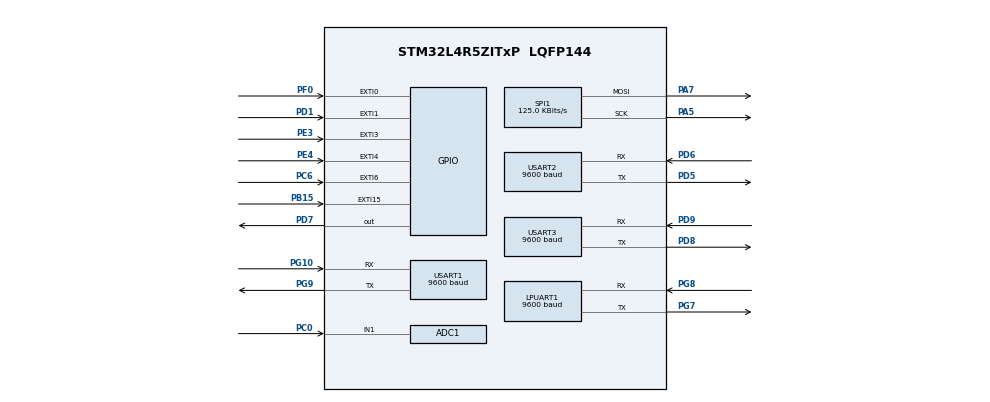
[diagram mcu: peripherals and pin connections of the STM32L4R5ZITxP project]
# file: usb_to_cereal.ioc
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ADC1.Channel-0\#ChannelRegularConversion=ADC_CHANNEL_1
ADC1.ClockPrescaler=ADC_CLOCK_ASYNC_DIV8
ADC1.ContinuousConvMode=ENABLE
ADC1.DMAContinuousRequests=ENABLE
ADC1.NbrOfConversionFlag=1
ADC1.OffsetNumber-0\#ChannelRegularConversion=ADC_OFFSET_NONE
ADC1.Rank-0\#ChannelRegularConversion=1
ADC1.SamplingTime-0\#ChannelRegularConversion=ADC_SAMPLETIME_92CYCLES_5
ADC1.master=1
Dma.ADC1.0.Direction=DMA_PERIPH_TO_MEMORY
Dma.ADC1.0.EventEnable=DISABLE
Dma.ADC1.0.Instance=DMA1_Channel1
Dma.ADC1.0.MemDataAlignment=DMA_MDATAALIGN_HALFWORD
Dma.ADC1.0.MemInc=DMA_MINC_ENABLE
Dma.ADC1.0.Mode=DMA_CIRCULAR
Dma.ADC1.0.PeriphDataAlignment=DMA_PDATAALIGN_HALFWORD
Dma.ADC1.0.PeriphInc=DMA_PINC_DISABLE
Dma.ADC1.0.Polarity=HAL_DMAMUX_REQUEST_GEN_RISING
Dma.ADC1.0.Priority=DMA_PRIORITY_LOW
Dma.ADC1.0.RequestNumber=1
Dma.ADC1.0.SignalID=NONE
Dma.ADC1.0.SyncEnable=DISABLE
Dma.ADC1.0.SyncPolarity=HAL_DMAMUX_SYNC_NO_EVENT
Dma.ADC1.0.SyncRequestNumber=1
Dma.ADC1.0.SyncSignalID=NONE
Dma.Request0=ADC1
LPUART1.BaudRate=9600
LPUART1.WordLength=UART_WORDLENGTH_8B
Mcu.Family=STM32L4
Mcu.Name=STM32L4R5ZITxP
Mcu.Package=LQFP144
NVIC.DMA1_Channel1_IRQn=true\:0\:0\:false\:false\:true\:false\:true\:true
NVIC.EXTI0_IRQn=true\:0\:0\:false\:false\:true\:true\:true\:true
NVIC.EXTI15_10_IRQn=true\:0\:0\:false\:false\:true\:true\:true\:true
NVIC.EXTI1_IRQn=true\:0\:0\:false\:false\:true\:true\:true\:true
NVIC.EXTI3_IRQn=true\:0\:0\:false\:false\:true\:true\:true\:true
NVIC.EXTI4_IRQn=true\:0\:0\:false\:false\:true\:true\:true\:true
NVIC.EXTI9_5_IRQn=true\:0\:0\:false\:false\:true\:true\:true\:true
NVIC.PriorityGroup=NVIC_PRIORITYGROUP_4
NVIC.TIM6_DAC_IRQn=true\:1\:0\:true\:false\:true\:true\:true\:false
NVIC.TIM7_IRQn=true\:1\:0\:true\:false\:true\:true\:true\:false
NVIC.USART3_IRQn=true\:0\:0\:false\:false\:true\:true\:true\:true
PA0.Signal=S_TIM2_CH1
PA10.Signal=USB_OTG_FS_ID
PA13\ (JTMS/SWDIO).Signal=SYS_JTMS-SWDIO
PA14\ (JTCK/SWCLK).Signal=SYS_JTCK-SWCLK
PA3.Signal=ADCx_IN8
PA5.Mode=TX_Only_Simplex_Unidirect_Master
PA5.Signal=SPI1_SCK
PA6.Signal=SPI1_MISO
PA7.Mode=TX_Only_Simplex_Unidirect_Master
PA7.Signal=SPI1_MOSI
PA8.Signal=USB_OTG_FS_SOF
PA9.Signal=USB_OTG_FS_VBUS
PB0.Signal=S_TIM3_CH3
PB1.Signal=ADCx_IN16
PB12.Signal=SAI2_FS_A
PB13.Signal=SAI2_SCK_A
PB14.Signal=S_TIM15_CH1
PB15.GPIO_ModeDefaultEXTI=GPIO_MODE_IT_FALLING
PB15.Signal=GPXTI15
PB2.Signal=COMP1_INP
PB3\ (JTDO/TRACESWO).Signal=SPI3_SCK
PB4\ (NJTRST).Signal=SPI3_MISO
PB5.Signal=SPI3_MOSI
PB6.Signal=COMP2_INP
PB8.Signal=I2C1_SCL
PB9.Signal=I2C1_SDA
PC0.Signal=ADCx_IN1
PC1.Signal=ADCx_IN2
PC13.Signal=SYS_WKUP2
PC14-OSC32_IN\ (PC14).Signal=RCC_OSC32_IN
PC15-OSC32_OUT\ (PC15).Signal=RCC_OSC32_OUT
PC2.Signal=ADCx_IN3
PC3.Signal=ADCx_IN4
PC4.Signal=ADCx_IN13
PC5.Signal=ADCx_IN14
PC6.GPIO_ModeDefaultEXTI=GPIO_MODE_IT_FALLING
PC6.Signal=GPXTI6
PC7.Signal=S_TIM3_CH2
PC8.Signal=SDMMC1_D0
PC9.Signal=SDMMC1_D1
PD0.Signal=CAN1_RX
PD1.GPIO_ModeDefaultEXTI=GPIO_MODE_IT_FALLING
PD1.Signal=GPXTI1
PD14.Signal=S_TIM4_CH3
PD15.Signal=S_TIM4_CH4
PD2.Signal=SDMMC1_CMD
PD3.Signal=USART2_CTS
PD4.Signal=USART2_RTS
PD5.Mode=Asynchronous
PD5.Signal=USART2_TX
PD6.Mode=Asynchronous
PD6.Signal=USART2_RX
PD7.Signal=GPIO_Output
PD8.Mode=Asynchronous
PD8.Signal=USART3_TX
PD9.Mode=Asynchronous
PD9.Signal=USART3_RX
PE0.Signal=S_TIM4_ETR
PE10.Signal=TIM1_CH2N
PE11.Signal=S_TIM1_CH2
PE12.Signal=TIM1_CH3N
PE13.Signal=S_TIM1_CH3
PE14.Signal=TIM1_BKIN2
PE15.Signal=TIM1_BKIN
PE2.Signal=SAI1_MCLK_A
PE3.GPIO_ModeDefaultEXTI=GPIO_MODE_IT_FALLING
PE3.Signal=GPXTI3
PE4.GPIO_ModeDefaultEXTI=GPIO_MODE_IT_FALLING
PE4.Signal=GPXTI4
PE7.Signal=S_TIM1_ETR
PE8.Signal=TIM1_CH1N
PE9.Signal=S_TIM1_CH1
PF0.GPIO_ModeDefaultEXTI=GPIO_MODE_IT_FALLING
PF0.Signal=GPXTI0
PF1.Signal=I2C2_SCL
PF2.Signal=I2C2_SMBA
PF7.Signal=SAI1_MCLK_B
PG10.Mode=Asynchronous
PG10.Signal=USART1_RX
PG7.Mode=Asynchronous
PG7.Signal=LPUART1_TX
PG8.Mode=Asynchronous
PG8.Signal=LPUART1_RX
PG9.Mode=Asynchronous
PG9.Signal=USART1_TX
PH0-OSC_IN\ (PH0).Signal=RCC_OSC_IN
PH1-OSC_OUT\ (PH1).Signal=RCC_OSC_OUT
ProjectManager.HeapSize=0x200
ProjectManager.StackSize=0x400
ProjectManager.TargetToolchain=STM32CubeIDE
RCC.ADCFreq_Value=32000000
RCC.HSE_VALUE=8000000
RCC.HSI48_VALUE=48000000
RCC.HSI_VALUE=16000000
RCC.LSE_VALUE=32768
RCC.MSI_VALUE=4000000
RCC.PLLSAI1N=16
RCC.USBFreq_Value=32000000
RCC.VCOOutputFreq_Value=32000000
SH.ADCx_IN1.0=ADC1_IN1,IN1-Single-Ended
SH.ADCx_IN13.0=ADC1_IN13
SH.ADCx_IN14.0=ADC1_IN14
SH.ADCx_IN16.0=ADC1_IN16
SH.ADCx_IN2.0=ADC1_IN2
SH.ADCx_IN3.0=ADC1_IN3
SH.ADCx_IN4.0=ADC1_IN4
SH.ADCx_IN8.0=ADC1_IN8
SH.S_TIM15_CH1.0=TIM15_CH1
SH.S_TIM1_CH1.0=TIM1_CH1
SH.S_TIM1_CH2.0=TIM1_CH2
SH.S_TIM1_CH3.0=TIM1_CH3
SH.S_TIM1_ETR.0=TIM1_ETR
SH.S_TIM2_CH1.0=TIM2_CH1
SH.S_TIM3_CH2.0=TIM3_CH2
SH.S_TIM3_CH3.0=TIM3_CH3
SH.S_TIM4_CH3.0=TIM4_CH3
SH.S_TIM4_CH4.0=TIM4_CH4
SH.S_TIM4_ETR.0=TIM4_ETR
SPI1.BaudRatePrescaler=SPI_BAUDRATEPRESCALER_32
SPI1.CalculateBaudRate=125.0 KBits/s
SPI1.DataSize=SPI_DATASIZE_8BIT
SPI1.Direction=SPI_DIRECTION_2LINES
SPI1.FirstBit=SPI_FIRSTBIT_LSB
SPI1.Mode=SPI_MODE_MASTER
SPI1.VirtualType=VM_MASTER
TIM6.Period=99
TIM6.Prescaler=39999
TIM7.Period=499
TIM7.Prescaler=3999
USART1.BaudRate=9600
USART1.Mode=MODE_TX
USART1.VirtualMode-Asynchronous=VM_ASYNC
USART2.BaudRate=9600
USART2.VirtualMode-Asynchronous=VM_ASYNC
USART3.BaudRate=9600
USART3.VirtualMode-Asynchronous=VM_ASYNC
VP_TIM6_VS_ClockSourceINT.Mode=Enable_Timer
VP_TIM7_VS_ClockSourceINT.Mode=Enable_Timer
board=NUCLEO-L4R5ZI-P

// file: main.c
/* USER CODE BEGIN Header */
/**
  ******************************************************************************
  * @file           : main.c
  * @brief          : Main program body
  ******************************************************************************
  * @attention
  *
  * Copyright (c) 2024 STMicroelectronics.
  * All rights reserved.
  *
  * This software is licensed under terms that can be found in the LICENSE file
  * in the root directory of this software component.
  * If no LICENSE file comes with this software, it is provided AS-IS.
  *
  ******************************************************************************
  */
/* USER CODE END Header */
#include "main.h"

/* USER CODE BEGIN Includes */
#include <string.h>
#include "stdio.h"
#include <stdlib.h>
#include "serialDisplay.h"
#include "arm_math.h"
#include <math.h>

/* USER CODE END Includes */

/* USER CODE BEGIN PD */
#define AUDIO_BUFFER_SIZE 1024  // Size of the buffer to store audio samples
#define FFT_OUTPUT_SIZE 256
#define SAMPLE_RATE 44100
#define NUM_BINS 15
uint16_t audio_buffer[AUDIO_BUFFER_SIZE];  // Buffer to store ADC samples
float fft_input[AUDIO_BUFFER_SIZE / 2];          // Buffer for FFT input (as float)
float fft_output[FFT_OUTPUT_SIZE];         // Buffer for FFT output (frequency domain)
short bpm_buffer[AUDIO_BUFFER_SIZE / 2];
float log_scale_output[NUM_BINS];
float log_scale_norms[NUM_BINS];

volatile uint8_t buffer_half_full = 0;       // Flag for half buffer full
volatile uint8_t buffer_full = 0;            // Flag for full buffer
static float *window;      /* FFT window */
/* USER CODE END PD */

/* USER CODE BEGIN PM */
void HAL_ADC_ConvHalfCpltCallback(ADC_HandleTypeDef* hadc) {
    if (hadc->Instance == ADC1) {
        buffer_half_full = 1;  // First half of buffer is filled
    }
}

void HAL_ADC_ConvCpltCallback(ADC_HandleTypeDef* hadc) {
    if (hadc->Instance == ADC1) {
        buffer_full = 1;  // Second half of buffer is filled
    }
}
/* USER CODE END PM */

ADC_HandleTypeDef hadc1;
DMA_HandleTypeDef hdma_adc1;

UART_HandleTypeDef hlpuart1;
UART_HandleTypeDef huart1;
UART_HandleTypeDef huart2;
UART_HandleTypeDef huart3;

SPI_HandleTypeDef hspi1;

TIM_HandleTypeDef htim6;
TIM_HandleTypeDef htim7;

/* USER CODE BEGIN PV */

SongPacket song;
volatile char oldGenre[1] = "Z";

/* USER CODE END PV */

void SystemClock_Config(void);
static void MX_GPIO_Init(void);
static void MX_DMA_Init(void);
static void MX_USART3_UART_Init(void);
static void MX_LPUART1_UART_Init(void);
static void MX_TIM6_Init(void);
static void MX_TIM7_Init(void);
static void MX_USART1_UART_Init(void);
static void MX_USART2_UART_Init(void);
static void MX_ADC1_Init(void);
static void MX_SPI1_Init(void);
/* USER CODE BEGIN PFP */
uint8_t spi_buf[FFT_OUTPUT_SIZE - 2];

void ParseUSARTMessage(char *buffer);
#define BUFFER_SIZE 256
uint8_t buffer[BUFFER_SIZE];
volatile uint16_t buffer_pos = 0;
uint8_t byte_received = 0;

void HAL_UART_RxCpltCallback(UART_HandleTypeDef *huart) {
    if (huart->Instance == USART3) {
    	//printf("RX_UART3\n");
        if (byte_received == '$') {
            buffer[buffer_pos] = '\0';  // Null-terminate the received string
            buffer_pos = 0;  // Reset buffer position

            ParseUSARTMessage((char *)buffer); // Call the parsing logic

            // Send acknowledgment back to Python
            char ack_message[] = "ACK: Message Received\n";
            HAL_UART_Transmit(&huart3, (uint8_t *)ack_message, strlen(ack_message), HAL_MAX_DELAY);
        } else {
            if (buffer_pos < BUFFER_SIZE - 1) {
                buffer[buffer_pos++] = byte_received;  // Store received byte
            } else {
                // Handle buffer overflow
                printf("Error: Buffer overflow\n");
                buffer_pos = 0;  // Reset buffer to prevent undefined behavior

                // Send error message back to Python
                char error_message[] = "ERROR: Buffer Overflow\n";
                HAL_UART_Transmit(&huart3, (uint8_t *)error_message, strlen(error_message), HAL_MAX_DELAY);
            }
        }

        // Re-enable interrupt for the next byte
        HAL_UART_Receive_IT(&huart3, &byte_received, 1);
    } else if (huart->Instance == USART1) {
    	//printf("RX_UART1\n");
    }

}

void ParseUSARTMessage(char *buffer) {
    static int song_name_length = 0;
    static char *song_name = NULL;

    static int artists_length = 0;
    static char *artists = NULL;

    static int progress = 0;
    static int duration = 0;

    char temp[100];
    int temp_pos = 0;

    // Deactivate Current Song:
    song.activeSong = 0;
    song.activePrint = 0;

    for (int i = 0; buffer[i] != '\0'; i++) {
        switch (buffer[i]) {
            case '#':
                temp[temp_pos] = '\0';
                song_name_length = atoi(temp);
                temp_pos = 0;
                song_name = malloc(song_name_length + 1);
                break;

            case '@':
                strncpy(song_name, temp, song_name_length);
                song_name[song_name_length] = '\0';
                temp_pos = 0;
                break;

            case '^':
                temp[temp_pos] = '\0';
                artists_length = atoi(temp);
                temp_pos = 0;
                artists = malloc(artists_length + 1);
                break;

            case '*':
                temp[temp_pos] = '\0';
                strncpy(artists, temp, artists_length);
                artists[artists_length] = '\0';
                temp_pos = 0;
                break;

            case '!':
                temp[temp_pos] = '\0';
                progress = atoi(temp);
                temp_pos = 0;
                break;

            default:
                temp[temp_pos++] = buffer[i];
                break;
        }
    }

    temp[temp_pos] = '\0';
    duration = atoi(temp);

    // Debugging output
    printf("Song Name: %s (Length: %d)\r\n", song_name, song_name_length);
    printf("Artists: %s (Length: %d)\r\n", artists, artists_length);
    printf("Progress: %d\r\n", progress);
    printf("Duration: %d\r\n", duration);

    // Assign to song structure
    song.nameLength = song_name_length;
    song.songName = (uint8_t *)song_name;
    song.artistName = (uint8_t *)artists;
    song.artistLength = artists_length;
    song.progress = progress;
    song.duration = duration;
    song.paused = 0;
    song.activeSong = 1;

}

void HAL_TIM_PeriodElapsedCallback(TIM_HandleTypeDef *htim)
{

	if (htim->Instance == TIM6) {
	        // Your code here
	        printf("TIM6 Interrupt Triggered\n");
	    }

	return;
}
/* USER CODE END PFP */

/* USER CODE BEGIN 0 */
void compute_log_scale_bins(const float *fft_output, float *log_scale_output) {
    float freq_resolution = (float)SAMPLE_RATE / FFT_OUTPUT_SIZE; // Frequency resolution (Hz per bin)
    //float freq_min = 1;    // Minimum frequency to avoid log(0)
    //float freq_max = (float)SAMPLE_RATE / 2; // Nyquist frequency
    float log_bins[NUM_BINS + 1];
    int i, bin_start, bin_end;

    // Generate logarithmic scale boundaries
    log_bins[0] = 1;
    log_bins[1] = 176;
    log_bins[2] = 352;
    log_bins[3] = 528;
    log_bins[4] = 708;
    log_bins[5] = 880;
    log_bins[6] = 1056;
    log_bins[7] = 1232;
    log_bins[8] = 1408;
    log_bins[9] = 1760;
    log_bins[10] = 2500;
    log_bins[11] = 5000;
    log_bins[12] = 7500;
    log_bins[13] = 10000;
    log_bins[14] = 15000;
    log_bins[15] = 20000;

    // Initialize the log scale output bins
    for (i = 0; i < NUM_BINS; i++) {
        log_scale_output[i] = 0.0f;
    }

    // Combine FFT bins into the log-scale bins
    for (i = 0; i < NUM_BINS; i++) {
        bin_start = (int)(log_bins[i] / freq_resolution);
        bin_end = (int)(log_bins[i + 1] / freq_resolution);
        if (bin_end > FFT_OUTPUT_SIZE / 2) {
            bin_end = FFT_OUTPUT_SIZE / 2; // Ensure bin_end doesn't exceed half of the FFT size
        }

        // Sum magnitudes within the current range
        for (int j = bin_start; j < bin_end; j++) {
            log_scale_output[i] += fft_output[j];
            //log_scale_output[i] = log_scale_output[i] / ((float)(bin_end - bin_start));
        }
        log_scale_output[0] -= 2.05;
        log_scale_output[1] -= 0.4;
        log_scale_output[2] -= 0.1;
        //log_scale_output[9] = log_scale_output[9] / (float)(2.0);
    }
}

void send_fft(const float *array, size_t size){
	for(size_t i = 0; i < size / 2 - 1; i++){
		spi_buf[2 * i] = (uint8_t)(i);
		spi_buf[2 * i + 1] = (uint8_t)(array[i]);
	}
	uint16_t num_bands = FFT_OUTPUT_SIZE / 2 - 1;
	num_bands = 15;
	for(size_t j = 0; j < num_bands; j++){
		HAL_GPIO_WritePin(GPIOD, GPIO_PIN_7, GPIO_PIN_SET);
		HAL_SPI_Transmit(&hspi1, (uint8_t*)&spi_buf[2 * j], 2, HAL_MAX_DELAY);
		HAL_GPIO_WritePin(GPIOD, GPIO_PIN_7, GPIO_PIN_RESET);
	}
}

void compute_fft(float* input, float* output, uint16_t size) {
    arm_rfft_fast_instance_f32 S;  // FFT instance

    // Initialize the FFT instance for the specified FFT size
    arm_rfft_fast_init_f32(&S, size);

    // Perform the FFT
    arm_rfft_fast_f32(&S, input, output, 0);

    // Calculate the magnitude of each frequency bin
    //output[0] = output[0];
    for (int i = 1; i < size / 2; i++) {
        output[i - 1] = floor(sqrtf(output[2 * i] * output[2 * i] + output[2 * i + 1] * output[2 * i + 1]) * 64);
    }
    compute_log_scale_bins(output, log_scale_output);

}

/////////////////////////////////////////////////////////////////////////////////
////////////////////////////// Timer Interrupts: ////////////////////////////////
/////////////////////////////////////////////////////////////////////////////////

// Handles Updating the Progress Bar and Time Display:
void TIM6_DAC_IRQHandler(void) {
  /* USER CODE BEGIN TIM6_DAC_IRQn 0 */

  /* USER CODE END TIM6_DAC_IRQn 0 */
  HAL_TIM_IRQHandler(&htim6);
  /* USER CODE BEGIN TIM6_DAC_IRQn 1 */

  // Ensure Active Song + Artist Print (Added):
  if (!song.activeSong && !song.activePrint) {
	  return;
  }

  // Ensure Song isn't Paused (Added):
  if (song.paused) {
	  return;
  }

  // Update Time (Added):
  updateTime(&song);

  // Display Song:
  displayTime(&huart1, &song);

  //updateTime(&song);

  // Update Bar:
  updateProgress(&huart1, &song);

  /* USER CODE END TIM6_DAC_IRQn 1 */
}

// Handles Displaying the Song Title:
void TIM7_IRQHandler(void){
  /* USER CODE BEGIN TIM7_IRQn 0 */

  /* USER CODE END TIM7_IRQn 0 */
  HAL_TIM_IRQHandler(&htim7);
  /* USER CODE BEGIN TIM7_IRQn 1 */

  // Ensure Active Song + Artist Print (Added):
  if (!song.activeSong || !song.activePrint) {
  	return;
  }

  // Scoll Position:
  static volatile int scrollPos = 20;

  // Handle Position on Interrupt:
  if (scrollPos > -(song.nameLength)) {
  	scrollPos--;
  } else {
  	scrollPos = 20;
  }

  char displayBuffer[21];
  memset(displayBuffer, ' ', 20);
  displayBuffer[20] = '\0';

  // Calculate Position:
  for (int i = 0; i < song.nameLength; i++) {
  	if (scrollPos + i < 20 && scrollPos + i >= 0) {
  		displayBuffer[scrollPos + i] = song.songName[i];
  	}
  }

  // Update Buffer:
  setCursorPos(&huart1, 0x00);
  HAL_UART_Transmit(&huart1, (uint8_t*)displayBuffer, 20, 1000);

  /* USER CODE END TIM7_IRQn 1 */
}

/////////////////////////////////////////////////////////////////////////////////
////////////////////////////// Button Interrupts: ///////////////////////////////
/////////////////////////////////////////////////////////////////////////////////

//void EXTI15_10_IRQHandler(void){
//  /* USER CODE BEGIN EXTI15_10_IRQn 0 */
//
//  /* USER CODE END EXTI15_10_IRQn 0 */
//  HAL_GPIO_EXTI_IRQHandler(GPIO_PIN_12);
//  /* USER CODE BEGIN EXTI15_10_IRQn 1 */
//  char message[] = "CHRI\n";
//  song.genre = "GROOVY";
//
//   //Send message over UART
//  HAL_UART_Transmit(&huart3, (uint8_t *)message, strlen(message), HAL_MAX_DELAY);
//  /* USER CODE END EXTI15_10_IRQn 1 */
//}

// Handles the Pause/Play Button:
void EXTI1_IRQHandler(void) {
  /* USER CODE BEGIN EXTI1_IRQn 0 */

  // Reset Flag:
  HAL_GPIO_EXTI_IRQHandler(GPIO_PIN_1);

  // Ensure Song is Active:
  if (!song.activeSong) {
	  return;
  }

  //static volatile int paused = 0;

  char pause[] = "PAUSE\n";
  char play[] = "PLAY\n";

  char pauseStr[] = "Song is Paused";
  char playStr[] = "Song is Playing";

  // Song is Playing -> Pause:
  if (!song.paused) {

	  // Transmit to Spotify:
	  HAL_UART_Transmit(&huart3, (uint8_t *)pause, strlen(pause), HAL_MAX_DELAY);
	  char genre[]= "S";
	  HAL_UART_Transmit(&huart2, &genre, 1, HAL_MAX_DELAY);

	  // Screen Message Debug:
//	  clearDisplay(&huart1);
//	  HAL_UART_Transmit(&huart1, (uint8_t *)pauseStr, 14, HAL_MAX_DELAY);

	  // Change Song Variables + Flag:
	  song.paused = 1;
	  //paused = 1;

	  return;
  }

  // Song is Paused -> Play:

  // Transmit to Spotify:
  HAL_UART_Transmit(&huart3, (uint8_t *)play, strlen(play), HAL_MAX_DELAY);
  HAL_UART_Transmit(&huart2, &oldGenre, 1, HAL_MAX_DELAY);

  // Screen Message Debug:
//  clearDisplay(&huart1);
//  HAL_UART_Transmit(&huart1, (uint8_t *)playStr, 15, HAL_MAX_DELAY);

  // Change Song Variables + Flag:
  song.paused = 0;
  //paused = 0;

  return;
  /* USER CODE END EXTI1_IRQn 0 */
}

void EXTI3_IRQHandler(void) {
  /* USER CODE BEGIN EXTI3_IRQn 0 */
	char message[] = "JAZZ\n";
	song.paused = 0;
	HAL_UART_Transmit(&huart3, (uint8_t *)message, strlen(message), HAL_MAX_DELAY);

	char genre[]= "J";
	oldGenre[0] = 'J';
	HAL_UART_Transmit(&huart2, &genre, 1, HAL_MAX_DELAY);
	HAL_GPIO_EXTI_IRQHandler(GPIO_PIN_3);

  /* USER CODE END EXTI3_IRQn 0 */
  /* USER CODE BEGIN EXTI3_IRQn 1 */

  /* USER CODE END EXTI3_IRQn 1 */
}

void EXTI4_IRQHandler(void) {
  /* USER CODE BEGIN EXTI4_IRQn 0 */
	char message[] = "CHRI\n";
	song.paused = 0;
	HAL_UART_Transmit(&huart3, (uint8_t *)message, strlen(message), HAL_MAX_DELAY);
	char genre[]= "C";
	oldGenre[0] = 'C';
	HAL_UART_Transmit(&huart2, &genre, 1, HAL_MAX_DELAY);

  /* USER CODE END EXTI4_IRQn 0 */
  HAL_GPIO_EXTI_IRQHandler(GPIO_PIN_4);
  /* USER CODE BEGIN EXTI4_IRQn 1 */

  /* USER CODE END EXTI4_IRQn 1 */
}

void EXTI0_IRQHandler(void) {
  /* USER CODE BEGIN EXTI0_IRQn 0 */
  HAL_GPIO_EXTI_IRQHandler(GPIO_PIN_0);

  if (!song.activeSong) {
	  return;
  }

  //song.activeSong = 0;
  char skip[] = "NEXT\n";
  song.paused = 0;
  HAL_UART_Transmit(&huart3, (uint8_t *)skip, strlen(skip), HAL_MAX_DELAY);

  /* USER CODE END EXTI0_IRQn 0 */
  /* USER CODE BEGIN EXTI0_IRQn 1 */
  HAL_UART_Transmit(&huart2, &oldGenre, 1, HAL_MAX_DELAY);

  /* USER CODE END EXTI0_IRQn 1 */
}

void EXTI15_10_IRQHandler(void) {
  /* USER CODE BEGIN EXTI15_10_IRQn 0 */

  char message[] = "ROCK\n";
  song.paused = 0;
  HAL_UART_Transmit(&huart3, (uint8_t *)message, strlen(message), HAL_MAX_DELAY);
  char genre[]= "R";
  oldGenre[0] = 'R';
  HAL_UART_Transmit(&huart2, &genre, 1, HAL_MAX_DELAY);

  HAL_GPIO_EXTI_IRQHandler(GPIO_PIN_15);

  /* USER CODE END EXTI15_10_IRQn 0 */
  /* USER CODE BEGIN EXTI15_10_IRQn 1 */

  /* USER CODE END EXTI15_10_IRQn 1 */
}

void EXTI9_5_IRQHandler(void){
  /* USER CODE BEGIN EXTI9_5_IRQn 0 */

  /* USER CODE END EXTI9_5_IRQn 0 */
  char message[] = "GROV\n";
  song.paused = 0;
  HAL_UART_Transmit(&huart3, (uint8_t *)message, strlen(message), HAL_MAX_DELAY);
  char genre[]= "G";
  oldGenre[0] = 'G';
  HAL_UART_Transmit(&huart2, &genre, 1, HAL_MAX_DELAY);

  HAL_GPIO_EXTI_IRQHandler(GPIO_PIN_6);

  /* USER CODE BEGIN EXTI9_5_IRQn 1 */

  /* USER CODE END EXTI9_5_IRQn 1 */
}

/* USER CODE END 0 */

int main(void)
{

  /* USER CODE BEGIN 1 */

  // Initialize Song Packet:
  song.activeSong = 0;
  song.activePrint = 0;
  song.inactivePrint = 0;
  song.paused = 0;
  song.duration = 0;
  song.progress = 0;

  window = (float *)malloc(AUDIO_BUFFER_SIZE / 2 * sizeof(float));
  for (int i = 0; i < AUDIO_BUFFER_SIZE / 2; i++) {
	  window[i] = (float)(0.54 - 0.46 * (sin((2 * PI * i) / (AUDIO_BUFFER_SIZE / 2 - 1.0))));
  }

  /* USER CODE END 1 */

  /* MCU Configuration--------------------------------------------------------*/

  /* Reset of all peripherals, Initializes the Flash interface and the Systick. */
  HAL_Init();

  /* Configure the system clock */
  SystemClock_Config();

  /* Initialize all configured peripherals */
  MX_GPIO_Init();
  MX_DMA_Init();
  MX_USART3_UART_Init();
  MX_LPUART1_UART_Init();
  MX_TIM6_Init();
  MX_TIM7_Init();
  MX_USART1_UART_Init();
  MX_USART2_UART_Init();
  MX_ADC1_Init();
  MX_SPI1_Init();
  /* USER CODE BEGIN 2 */

  HAL_TIM_Base_Start_IT(&htim6);
  HAL_TIM_Base_Start_IT(&htim7);

  HAL_UART_Receive_IT(&huart3, &byte_received, 1);

  clearDisplay(&huart1);
  HAL_Delay(100);

  //HAL_UART_Transmit(&huart2, song.genre, strlen((const char *)song.genre), HAL_MAX_DELAY);

  //HAL_UART_Transmit(&huart2, (uint8_t *)song.genre, strlen(song.genre), HAL_MAX_DELAY);

  printf("STM32 UART Interface Initialized!\r\n");
  /* USER CODE END 2 */

  /* Infinite loop */
  /* USER CODE BEGIN WHILE */
  // Start ADC in DMA mode
  if (HAL_ADC_Start_DMA(&hadc1, (uint32_t *)audio_buffer, AUDIO_BUFFER_SIZE) != HAL_OK) {
    // ADC conversion start error
    Error_Handler();
  }

  // Enable global interrupts
  //__enable_irq();

  char genre[]= "A";
  HAL_UART_Transmit(&huart2, &genre, 1, HAL_MAX_DELAY);
  HAL_Delay(8000);
//  genre[0]= 'J';
//  HAL_UART_Transmit(&huart2, &genre, 1, HAL_MAX_DELAY);
////  HAL_Delay(5000);
////  genre[0]= 'R';
////  HAL_UART_Transmit(&huart2, &genre, 1, HAL_MAX_DELAY);
////  HAL_Delay(7000);
////  genre[0]= 'J';
////  HAL_UART_Transmit(&huart2, &genre, 1, HAL_MAX_DELAY);
//// HAL_Delay(7000);
//// genre[0]= 'G';
//// HAL_UART_Transmit(&huart2, &genre, 1, HAL_MAX_DELAY);
//  HAL_Delay(7000);
//  genre[0]= 'S';
//  HAL_UART_Transmit(&huart2, &genre, 1, HAL_MAX_DELAY);
  while (1) {
    /* USER CODE END WHILE */

    /* USER CODE BEGIN 3 */

	  displaySong(&huart1, &song);
	  if (buffer_half_full) {
	  		  // Copy first half of audio_buffer to fft_input
	  	      for (int i = 0; i < AUDIO_BUFFER_SIZE / 2; i++) {
	  	          fft_input[i] = window[i] * ((float)audio_buffer[i] - 2048) / 4096;  // Convert to float if necessary
	  	          bpm_buffer[i] = ((short)audio_buffer[i] - 2048);
	  	      }

	  	      // Perform FFT on the first half of the buffer
	  	      compute_fft(fft_input, fft_output, FFT_OUTPUT_SIZE);

	  	      buffer_half_full = 0;  // Reset the flag after processing

	  	      send_fft(log_scale_output, 64);

	  	      //printArray(fft_output, FFT_OUTPUT_SIZE / 2);
	  	      //printf("half: %d\n", cnt);
	  	      //cnt = cnt + 1;

	  	      // Send to BPM detection
	  	      /*
	  	      if (BPM_put_samples(bpm_buffer, AUDIO_BUFFER_SIZE / 2) == 1) {
	  	          uint32_t bpm = BPM_get_bpm();
	  	          printf("BPM Detected: %lu\n", (unsigned long)bpm);
	  	          return 0;
	  	      }
	  	      else{
	  	    	  //printf("BPM Not Detected\n");
	  	      }
	  		*/

	  	  }

	  	  if (buffer_full) {
	  	      // Copy second half of audio_buffer to fft_input
	  	      for (int i = AUDIO_BUFFER_SIZE / 2; i < AUDIO_BUFFER_SIZE; i++) {
	  	          fft_input[i - AUDIO_BUFFER_SIZE / 2] = window[i - AUDIO_BUFFER_SIZE / 2] * ((float)audio_buffer[i] - 2048) / 4096;
	  	          bpm_buffer[i - AUDIO_BUFFER_SIZE / 2] = ((short)audio_buffer[i] - 2048);
	  	      }

	  	      // Perform FFT on the second half of the buffer
	  	      compute_fft(fft_input, fft_output, FFT_OUTPUT_SIZE);

	  	      buffer_full = 0;  // Reset the flag after processing

	  	      send_fft(log_scale_output, 64);

	  	      //printArray(fft_output, FFT_OUTPUT_SIZE / 2);
	  	      //printf("full: %d\n", cnt);
	  	      //cnt = cnt + 1;

	  	      /*
	  	      if (BPM_put_samples(bpm_buffer, AUDIO_BUFFER_SIZE / 2) == 1) {
	  	      	  uint32_t bpm = BPM_get_bpm();
	  	      	  printf("BPM Detected: %lu\n", (unsigned long)bpm);
	  	      	  return 0;
	  	      }
	  	      else{
	  	      	  //printf("BPM Not Detected\n");
	  	      }
	  		*/

	  	  }

//	  // Function Proto:
//	  if (song.activeSong == 0 && song.inactiveDisplay == 0) {
//		  char paused[] = "No Active Song";
//		  HAL_UART_Transmit(&huart1, &paused, strlen(paused), 20);
//		  song.inactiveDisplay = 1;
//	  } else if (song.activeSong == 1 && song.intialDisplay == 0) {
//		  clearDisplay(&huart1);
//		  HAL_UART_Transmit(&huart1, song.songName, song.nameLength, 20);
//		  song.intialDisplay = 1;
//	  }

  }
  /* USER CODE END 3 */
}

void SystemClock_Config(void)
{
  RCC_OscInitTypeDef RCC_OscInitStruct = {0};
  RCC_ClkInitTypeDef RCC_ClkInitStruct = {0};

  /** Configure the main internal regulator output voltage
  */
  if (HAL_PWREx_ControlVoltageScaling(PWR_REGULATOR_VOLTAGE_SCALE1) != HAL_OK)
  {
    Error_Handler();
  }

  /** Initializes the RCC Oscillators according to the specified parameters
  * in the RCC_OscInitTypeDef structure.
  */
  RCC_OscInitStruct.OscillatorType = RCC_OSCILLATORTYPE_MSI;
  RCC_OscInitStruct.MSIState = RCC_MSI_ON;
  RCC_OscInitStruct.MSICalibrationValue = 0;
  RCC_OscInitStruct.MSIClockRange = RCC_MSIRANGE_6;
  RCC_OscInitStruct.PLL.PLLState = RCC_PLL_NONE;
  if (HAL_RCC_OscConfig(&RCC_OscInitStruct) != HAL_OK)
  {
    Error_Handler();
  }

  /** Initializes the CPU, AHB and APB buses clocks
  */
  RCC_ClkInitStruct.ClockType = RCC_CLOCKTYPE_HCLK|RCC_CLOCKTYPE_SYSCLK
                              |RCC_CLOCKTYPE_PCLK1|RCC_CLOCKTYPE_PCLK2;
  RCC_ClkInitStruct.SYSCLKSource = RCC_SYSCLKSOURCE_MSI;
  RCC_ClkInitStruct.AHBCLKDivider = RCC_SYSCLK_DIV1;
  RCC_ClkInitStruct.APB1CLKDivider = RCC_HCLK_DIV1;
  RCC_ClkInitStruct.APB2CLKDivider = RCC_HCLK_DIV1;

  if (HAL_RCC_ClockConfig(&RCC_ClkInitStruct, FLASH_LATENCY_0) != HAL_OK)
  {
    Error_Handler();
  }
}

static void MX_ADC1_Init(void)
{

  ADC_ChannelConfTypeDef sConfig = {0};

  /** Common config
  */
  hadc1.Instance = ADC1;
  hadc1.Init.ClockPrescaler = ADC_CLOCK_ASYNC_DIV8;
  hadc1.Init.Resolution = ADC_RESOLUTION_12B;
  hadc1.Init.DataAlign = ADC_DATAALIGN_RIGHT;
  hadc1.Init.ScanConvMode = ADC_SCAN_DISABLE;
  hadc1.Init.EOCSelection = ADC_EOC_SINGLE_CONV;
  hadc1.Init.LowPowerAutoWait = DISABLE;
  hadc1.Init.ContinuousConvMode = ENABLE;
  hadc1.Init.NbrOfConversion = 1;
  hadc1.Init.DiscontinuousConvMode = DISABLE;
  hadc1.Init.ExternalTrigConv = ADC_SOFTWARE_START;
  hadc1.Init.ExternalTrigConvEdge = ADC_EXTERNALTRIGCONVEDGE_NONE;
  hadc1.Init.DMAContinuousRequests = ENABLE;
  hadc1.Init.Overrun = ADC_OVR_DATA_PRESERVED;
  hadc1.Init.OversamplingMode = DISABLE;
  if (HAL_ADC_Init(&hadc1) != HAL_OK)
  {
    Error_Handler();
  }

  /** Configure Regular Channel
  */
  sConfig.Channel = ADC_CHANNEL_1;
  sConfig.Rank = ADC_REGULAR_RANK_1;
  sConfig.SamplingTime = ADC_SAMPLETIME_92CYCLES_5;
  sConfig.SingleDiff = ADC_SINGLE_ENDED;
  sConfig.OffsetNumber = ADC_OFFSET_NONE;
  sConfig.Offset = 0;
  if (HAL_ADC_ConfigChannel(&hadc1, &sConfig) != HAL_OK)
  {
    Error_Handler();
  }

}

static void MX_LPUART1_UART_Init(void)
{

  hlpuart1.Instance = LPUART1;
  hlpuart1.Init.BaudRate = 9600;
  hlpuart1.Init.WordLength = UART_WORDLENGTH_8B;
  hlpuart1.Init.StopBits = UART_STOPBITS_1;
  hlpuart1.Init.Parity = UART_PARITY_NONE;
  hlpuart1.Init.Mode = UART_MODE_TX_RX;
  hlpuart1.Init.HwFlowCtl = UART_HWCONTROL_NONE;
  hlpuart1.Init.OneBitSampling = UART_ONE_BIT_SAMPLE_DISABLE;
  hlpuart1.Init.ClockPrescaler = UART_PRESCALER_DIV1;
  hlpuart1.AdvancedInit.AdvFeatureInit = UART_ADVFEATURE_NO_INIT;
  hlpuart1.FifoMode = UART_FIFOMODE_DISABLE;
  if (HAL_UART_Init(&hlpuart1) != HAL_OK)
  {
    Error_Handler();
  }
  if (HAL_UARTEx_SetTxFifoThreshold(&hlpuart1, UART_TXFIFO_THRESHOLD_1_8) != HAL_OK)
  {
    Error_Handler();
  }
  if (HAL_UARTEx_SetRxFifoThreshold(&hlpuart1, UART_RXFIFO_THRESHOLD_1_8) != HAL_OK)
  {
    Error_Handler();
  }
  if (HAL_UARTEx_DisableFifoMode(&hlpuart1) != HAL_OK)
  {
    Error_Handler();
  }

}

static void MX_USART1_UART_Init(void)
{

  huart1.Instance = USART1;
  huart1.Init.BaudRate = 9600;
  huart1.Init.WordLength = UART_WORDLENGTH_8B;
  huart1.Init.StopBits = UART_STOPBITS_1;
  huart1.Init.Parity = UART_PARITY_NONE;
  huart1.Init.Mode = UART_MODE_TX;
  huart1.Init.HwFlowCtl = UART_HWCONTROL_NONE;
  huart1.Init.OverSampling = UART_OVERSAMPLING_16;
  huart1.Init.OneBitSampling = UART_ONE_BIT_SAMPLE_DISABLE;
  huart1.Init.ClockPrescaler = UART_PRESCALER_DIV1;
  huart1.AdvancedInit.AdvFeatureInit = UART_ADVFEATURE_NO_INIT;
  if (HAL_UART_Init(&huart1) != HAL_OK)
  {
    Error_Handler();
  }
  if (HAL_UARTEx_SetTxFifoThreshold(&huart1, UART_TXFIFO_THRESHOLD_1_8) != HAL_OK)
  {
    Error_Handler();
  }
  if (HAL_UARTEx_SetRxFifoThreshold(&huart1, UART_RXFIFO_THRESHOLD_1_8) != HAL_OK)
  {
    Error_Handler();
  }
  if (HAL_UARTEx_DisableFifoMode(&huart1) != HAL_OK)
  {
    Error_Handler();
  }

}

static void MX_USART2_UART_Init(void)
{

  huart2.Instance = USART2;
  huart2.Init.BaudRate = 9600;
  huart2.Init.WordLength = UART_WORDLENGTH_8B;
  huart2.Init.StopBits = UART_STOPBITS_1;
  huart2.Init.Parity = UART_PARITY_NONE;
  huart2.Init.Mode = UART_MODE_TX_RX;
  huart2.Init.HwFlowCtl = UART_HWCONTROL_NONE;
  huart2.Init.OverSampling = UART_OVERSAMPLING_16;
  huart2.Init.OneBitSampling = UART_ONE_BIT_SAMPLE_DISABLE;
  huart2.Init.ClockPrescaler = UART_PRESCALER_DIV1;
  huart2.AdvancedInit.AdvFeatureInit = UART_ADVFEATURE_NO_INIT;
  if (HAL_UART_Init(&huart2) != HAL_OK)
  {
    Error_Handler();
  }
  if (HAL_UARTEx_SetTxFifoThreshold(&huart2, UART_TXFIFO_THRESHOLD_1_8) != HAL_OK)
  {
    Error_Handler();
  }
  if (HAL_UARTEx_SetRxFifoThreshold(&huart2, UART_RXFIFO_THRESHOLD_1_8) != HAL_OK)
  {
    Error_Handler();
  }
  if (HAL_UARTEx_DisableFifoMode(&huart2) != HAL_OK)
  {
    Error_Handler();
  }

}

static void MX_USART3_UART_Init(void)
{

  huart3.Instance = USART3;
  huart3.Init.BaudRate = 9600;
  huart3.Init.WordLength = UART_WORDLENGTH_8B;
  huart3.Init.StopBits = UART_STOPBITS_1;
  huart3.Init.Parity = UART_PARITY_NONE;
  huart3.Init.Mode = UART_MODE_TX_RX;
  huart3.Init.HwFlowCtl = UART_HWCONTROL_NONE;
  huart3.Init.OverSampling = UART_OVERSAMPLING_16;
  huart3.Init.OneBitSampling = UART_ONE_BIT_SAMPLE_DISABLE;
  huart3.Init.ClockPrescaler = UART_PRESCALER_DIV1;
  huart3.AdvancedInit.AdvFeatureInit = UART_ADVFEATURE_NO_INIT;
  if (HAL_UART_Init(&huart3) != HAL_OK)
  {
    Error_Handler();
  }
  if (HAL_UARTEx_SetTxFifoThreshold(&huart3, UART_TXFIFO_THRESHOLD_1_8) != HAL_OK)
  {
    Error_Handler();
  }
  if (HAL_UARTEx_SetRxFifoThreshold(&huart3, UART_RXFIFO_THRESHOLD_1_8) != HAL_OK)
  {
    Error_Handler();
  }
  if (HAL_UARTEx_DisableFifoMode(&huart3) != HAL_OK)
  {
    Error_Handler();
  }

}

static void MX_SPI1_Init(void)
{

  /* SPI1 parameter configuration*/
  hspi1.Instance = SPI1;
  hspi1.Init.Mode = SPI_MODE_MASTER;
  hspi1.Init.Direction = SPI_DIRECTION_2LINES;
  hspi1.Init.DataSize = SPI_DATASIZE_8BIT;
  hspi1.Init.CLKPolarity = SPI_POLARITY_LOW;
  hspi1.Init.CLKPhase = SPI_PHASE_1EDGE;
  hspi1.Init.NSS = SPI_NSS_SOFT;
  hspi1.Init.BaudRatePrescaler = SPI_BAUDRATEPRESCALER_32;
  hspi1.Init.FirstBit = SPI_FIRSTBIT_LSB;
  hspi1.Init.TIMode = SPI_TIMODE_DISABLE;
  hspi1.Init.CRCCalculation = SPI_CRCCALCULATION_DISABLE;
  hspi1.Init.CRCPolynomial = 7;
  hspi1.Init.CRCLength = SPI_CRC_LENGTH_DATASIZE;
  hspi1.Init.NSSPMode = SPI_NSS_PULSE_ENABLE;
  if (HAL_SPI_Init(&hspi1) != HAL_OK)
  {
    Error_Handler();
  }

}

static void MX_TIM6_Init(void)
{

  /* USER CODE BEGIN TIM6_Init 0 */
	__HAL_RCC_TIM6_CLK_ENABLE();

  /* USER CODE END TIM6_Init 0 */

  TIM_MasterConfigTypeDef sMasterConfig = {0};

  htim6.Instance = TIM6;
  htim6.Init.Prescaler = 39999;
  htim6.Init.CounterMode = TIM_COUNTERMODE_UP;
  htim6.Init.Period = 99;
  htim6.Init.AutoReloadPreload = TIM_AUTORELOAD_PRELOAD_DISABLE;
  if (HAL_TIM_Base_Init(&htim6) != HAL_OK)
  {
    Error_Handler();
  }
  sMasterConfig.MasterOutputTrigger = TIM_TRGO_RESET;
  sMasterConfig.MasterSlaveMode = TIM_MASTERSLAVEMODE_DISABLE;
  if (HAL_TIMEx_MasterConfigSynchronization(&htim6, &sMasterConfig) != HAL_OK)
  {
    Error_Handler();
  }
  /* USER CODE BEGIN TIM6_Init 2 */
  HAL_NVIC_SetPriority(TIM6_DAC_IRQn, 0, 0);
  HAL_NVIC_EnableIRQ(TIM6_DAC_IRQn);

  /* USER CODE END TIM6_Init 2 */

}

static void MX_TIM7_Init(void)
{

  /* USER CODE BEGIN TIM7_Init 0 */
	__HAL_RCC_TIM7_CLK_ENABLE();

  /* USER CODE END TIM7_Init 0 */

  TIM_MasterConfigTypeDef sMasterConfig = {0};

  htim7.Instance = TIM7;
  htim7.Init.Prescaler = 3999;
  htim7.Init.CounterMode = TIM_COUNTERMODE_UP;
  htim7.Init.Period = 499;
  htim7.Init.AutoReloadPreload = TIM_AUTORELOAD_PRELOAD_DISABLE;
  if (HAL_TIM_Base_Init(&htim7) != HAL_OK)
  {
    Error_Handler();
  }
  sMasterConfig.MasterOutputTrigger = TIM_TRGO_RESET;
  sMasterConfig.MasterSlaveMode = TIM_MASTERSLAVEMODE_DISABLE;
  if (HAL_TIMEx_MasterConfigSynchronization(&htim7, &sMasterConfig) != HAL_OK)
  {
    Error_Handler();
  }
  /* USER CODE BEGIN TIM7_Init 2 */
  HAL_NVIC_SetPriority(TIM7_IRQn, 0, 0);
    HAL_NVIC_EnableIRQ(TIM7_IRQn);

  /* USER CODE END TIM7_Init 2 */

}

static void MX_DMA_Init(void)
{

  /* DMA controller clock enable */
  __HAL_RCC_DMAMUX1_CLK_ENABLE();
  __HAL_RCC_DMA1_CLK_ENABLE();

  /* DMA interrupt init */
  /* DMA1_Channel1_IRQn interrupt configuration */
  HAL_NVIC_SetPriority(DMA1_Channel1_IRQn, 0, 0);
  HAL_NVIC_EnableIRQ(DMA1_Channel1_IRQn);

}

static void MX_GPIO_Init(void)
{
  GPIO_InitTypeDef GPIO_InitStruct = {0};

  /* GPIO Ports Clock Enable */
  __HAL_RCC_GPIOE_CLK_ENABLE();
  __HAL_RCC_GPIOC_CLK_ENABLE();
  __HAL_RCC_GPIOF_CLK_ENABLE();
  __HAL_RCC_GPIOH_CLK_ENABLE();
  __HAL_RCC_GPIOA_CLK_ENABLE();
  __HAL_RCC_GPIOB_CLK_ENABLE();
  __HAL_RCC_GPIOD_CLK_ENABLE();
  __HAL_RCC_GPIOG_CLK_ENABLE();
  HAL_PWREx_EnableVddIO2();

  /*Configure GPIO pin Output Level */
  HAL_GPIO_WritePin(GPIOD, GPIO_PIN_7, GPIO_PIN_RESET);

  /*Configure GPIO pin : PE2 */
  GPIO_InitStruct.Pin = GPIO_PIN_2;
  GPIO_InitStruct.Mode = GPIO_MODE_AF_PP;
  GPIO_InitStruct.Pull = GPIO_NOPULL;
  GPIO_InitStruct.Speed = GPIO_SPEED_FREQ_LOW;
  GPIO_InitStruct.Alternate = GPIO_AF13_SAI1;
  HAL_GPIO_Init(GPIOE, &GPIO_InitStruct);

  /*Configure GPIO pins : PE3 PE4 */
  GPIO_InitStruct.Pin = GPIO_PIN_3|GPIO_PIN_4;
  GPIO_InitStruct.Mode = GPIO_MODE_IT_FALLING;
  GPIO_InitStruct.Pull = GPIO_NOPULL;
  HAL_GPIO_Init(GPIOE, &GPIO_InitStruct);

  /*Configure GPIO pin : PF0 */
  GPIO_InitStruct.Pin = GPIO_PIN_0;
  GPIO_InitStruct.Mode = GPIO_MODE_IT_FALLING;
  GPIO_InitStruct.Pull = GPIO_NOPULL;
  HAL_GPIO_Init(GPIOF, &GPIO_InitStruct);

  /*Configure GPIO pins : PF1 PF2 */
  GPIO_InitStruct.Pin = GPIO_PIN_1|GPIO_PIN_2;
  GPIO_InitStruct.Mode = GPIO_MODE_AF_OD;
  GPIO_InitStruct.Pull = GPIO_NOPULL;
  GPIO_InitStruct.Speed = GPIO_SPEED_FREQ_VERY_HIGH;
  GPIO_InitStruct.Alternate = GPIO_AF4_I2C2;
  HAL_GPIO_Init(GPIOF, &GPIO_InitStruct);

  /*Configure GPIO pin : PF7 */
  GPIO_InitStruct.Pin = GPIO_PIN_7;
  GPIO_InitStruct.Mode = GPIO_MODE_AF_PP;
  GPIO_InitStruct.Pull = GPIO_NOPULL;
  GPIO_InitStruct.Speed = GPIO_SPEED_FREQ_LOW;
  GPIO_InitStruct.Alternate = GPIO_AF13_SAI1;
  HAL_GPIO_Init(GPIOF, &GPIO_InitStruct);

  /*Configure GPIO pin : PA0 */
  GPIO_InitStruct.Pin = GPIO_PIN_0;
  GPIO_InitStruct.Mode = GPIO_MODE_AF_PP;
  GPIO_InitStruct.Pull = GPIO_NOPULL;
  GPIO_InitStruct.Speed = GPIO_SPEED_FREQ_LOW;
  GPIO_InitStruct.Alternate = GPIO_AF1_TIM2;
  HAL_GPIO_Init(GPIOA, &GPIO_InitStruct);

  /*Configure GPIO pin : PB0 */
  GPIO_InitStruct.Pin = GPIO_PIN_0;
  GPIO_InitStruct.Mode = GPIO_MODE_AF_PP;
  GPIO_InitStruct.Pull = GPIO_NOPULL;
  GPIO_InitStruct.Speed = GPIO_SPEED_FREQ_LOW;
  GPIO_InitStruct.Alternate = GPIO_AF2_TIM3;
  HAL_GPIO_Init(GPIOB, &GPIO_InitStruct);

  /*Configure GPIO pins : PB2 PB6 */
  GPIO_InitStruct.Pin = GPIO_PIN_2|GPIO_PIN_6;
  GPIO_InitStruct.Mode = GPIO_MODE_ANALOG;
  GPIO_InitStruct.Pull = GPIO_NOPULL;
  HAL_GPIO_Init(GPIOB, &GPIO_InitStruct);

  /*Configure GPIO pins : PE7 PE8 PE9 PE10
                           PE11 PE12 PE13 */
  GPIO_InitStruct.Pin = GPIO_PIN_7|GPIO_PIN_8|GPIO_PIN_9|GPIO_PIN_10
                          |GPIO_PIN_11|GPIO_PIN_12|GPIO_PIN_13;
  GPIO_InitStruct.Mode = GPIO_MODE_AF_PP;
  GPIO_InitStruct.Pull = GPIO_NOPULL;
  GPIO_InitStruct.Speed = GPIO_SPEED_FREQ_LOW;
  GPIO_InitStruct.Alternate = GPIO_AF1_TIM1;
  HAL_GPIO_Init(GPIOE, &GPIO_InitStruct);

  /*Configure GPIO pins : PE14 PE15 */
  GPIO_InitStruct.Pin = GPIO_PIN_14|GPIO_PIN_15;
  GPIO_InitStruct.Mode = GPIO_MODE_AF_PP;
  GPIO_InitStruct.Pull = GPIO_NOPULL;
  GPIO_InitStruct.Speed = GPIO_SPEED_FREQ_LOW;
  GPIO_InitStruct.Alternate = GPIO_AF3_TIM1_COMP1;
  HAL_GPIO_Init(GPIOE, &GPIO_InitStruct);

  /*Configure GPIO pins : PB12 PB13 */
  GPIO_InitStruct.Pin = GPIO_PIN_12|GPIO_PIN_13;
  GPIO_InitStruct.Mode = GPIO_MODE_AF_PP;
  GPIO_InitStruct.Pull = GPIO_NOPULL;
  GPIO_InitStruct.Speed = GPIO_SPEED_FREQ_LOW;
  GPIO_InitStruct.Alternate = GPIO_AF13_SAI2;
  HAL_GPIO_Init(GPIOB, &GPIO_InitStruct);

  /*Configure GPIO pin : PB14 */
  GPIO_InitStruct.Pin = GPIO_PIN_14;
  GPIO_InitStruct.Mode = GPIO_MODE_AF_PP;
  GPIO_InitStruct.Pull = GPIO_NOPULL;
  GPIO_InitStruct.Speed = GPIO_SPEED_FREQ_LOW;
  GPIO_InitStruct.Alternate = GPIO_AF14_TIM15;
  HAL_GPIO_Init(GPIOB, &GPIO_InitStruct);

  /*Configure GPIO pin : PB15 */
  GPIO_InitStruct.Pin = GPIO_PIN_15;
  GPIO_InitStruct.Mode = GPIO_MODE_IT_FALLING;
  GPIO_InitStruct.Pull = GPIO_NOPULL;
  HAL_GPIO_Init(GPIOB, &GPIO_InitStruct);

  /*Configure GPIO pins : PD14 PD15 */
  GPIO_InitStruct.Pin = GPIO_PIN_14|GPIO_PIN_15;
  GPIO_InitStruct.Mode = GPIO_MODE_AF_PP;
  GPIO_InitStruct.Pull = GPIO_NOPULL;
  GPIO_InitStruct.Speed = GPIO_SPEED_FREQ_LOW;
  GPIO_InitStruct.Alternate = GPIO_AF2_TIM4;
  HAL_GPIO_Init(GPIOD, &GPIO_InitStruct);

  /*Configure GPIO pin : PC6 */
  GPIO_InitStruct.Pin = GPIO_PIN_6;
  GPIO_InitStruct.Mode = GPIO_MODE_IT_FALLING;
  GPIO_InitStruct.Pull = GPIO_NOPULL;
  HAL_GPIO_Init(GPIOC, &GPIO_InitStruct);

  /*Configure GPIO pin : PC7 */
  GPIO_InitStruct.Pin = GPIO_PIN_7;
  GPIO_InitStruct.Mode = GPIO_MODE_AF_PP;
  GPIO_InitStruct.Pull = GPIO_NOPULL;
  GPIO_InitStruct.Speed = GPIO_SPEED_FREQ_LOW;
  GPIO_InitStruct.Alternate = GPIO_AF2_TIM3;
  HAL_GPIO_Init(GPIOC, &GPIO_InitStruct);

  /*Configure GPIO pins : PC8 PC9 */
  GPIO_InitStruct.Pin = GPIO_PIN_8|GPIO_PIN_9;
  GPIO_InitStruct.Mode = GPIO_MODE_AF_PP;
  GPIO_InitStruct.Pull = GPIO_NOPULL;
  GPIO_InitStruct.Speed = GPIO_SPEED_FREQ_VERY_HIGH;
  GPIO_InitStruct.Alternate = GPIO_AF12_SDMMC1;
  HAL_GPIO_Init(GPIOC, &GPIO_InitStruct);

  /*Configure GPIO pins : PA8 PA10 */
  GPIO_InitStruct.Pin = GPIO_PIN_8|GPIO_PIN_10;
  GPIO_InitStruct.Mode = GPIO_MODE_AF_PP;
  GPIO_InitStruct.Pull = GPIO_NOPULL;
  GPIO_InitStruct.Speed = GPIO_SPEED_FREQ_VERY_HIGH;
  GPIO_InitStruct.Alternate = GPIO_AF10_OTG_FS;
  HAL_GPIO_Init(GPIOA, &GPIO_InitStruct);

  /*Configure GPIO pin : PA9 */
  GPIO_InitStruct.Pin = GPIO_PIN_9;
  GPIO_InitStruct.Mode = GPIO_MODE_INPUT;
  GPIO_InitStruct.Pull = GPIO_NOPULL;
  HAL_GPIO_Init(GPIOA, &GPIO_InitStruct);

  /*Configure GPIO pin : PD0 */
  GPIO_InitStruct.Pin = GPIO_PIN_0;
  GPIO_InitStruct.Mode = GPIO_MODE_AF_PP;
  GPIO_InitStruct.Pull = GPIO_NOPULL;
  GPIO_InitStruct.Speed = GPIO_SPEED_FREQ_VERY_HIGH;
  GPIO_InitStruct.Alternate = GPIO_AF9_CAN1;
  HAL_GPIO_Init(GPIOD, &GPIO_InitStruct);

  /*Configure GPIO pin : PD1 */
  GPIO_InitStruct.Pin = GPIO_PIN_1;
  GPIO_InitStruct.Mode = GPIO_MODE_IT_FALLING;
  GPIO_InitStruct.Pull = GPIO_NOPULL;
  HAL_GPIO_Init(GPIOD, &GPIO_InitStruct);

  /*Configure GPIO pin : PD2 */
  GPIO_InitStruct.Pin = GPIO_PIN_2;
  GPIO_InitStruct.Mode = GPIO_MODE_AF_PP;
  GPIO_InitStruct.Pull = GPIO_NOPULL;
  GPIO_InitStruct.Speed = GPIO_SPEED_FREQ_VERY_HIGH;
  GPIO_InitStruct.Alternate = GPIO_AF12_SDMMC1;
  HAL_GPIO_Init(GPIOD, &GPIO_InitStruct);

  /*Configure GPIO pin : PD7 */
  GPIO_InitStruct.Pin = GPIO_PIN_7;
  GPIO_InitStruct.Mode = GPIO_MODE_OUTPUT_PP;
  GPIO_InitStruct.Pull = GPIO_NOPULL;
  GPIO_InitStruct.Speed = GPIO_SPEED_FREQ_LOW;
  HAL_GPIO_Init(GPIOD, &GPIO_InitStruct);

  /*Configure GPIO pins : PB3 PB4 PB5 */
  GPIO_InitStruct.Pin = GPIO_PIN_3|GPIO_PIN_4|GPIO_PIN_5;
  GPIO_InitStruct.Mode = GPIO_MODE_AF_PP;
  GPIO_InitStruct.Pull = GPIO_NOPULL;
  GPIO_InitStruct.Speed = GPIO_SPEED_FREQ_VERY_HIGH;
  GPIO_InitStruct.Alternate = GPIO_AF6_SPI3;
  HAL_GPIO_Init(GPIOB, &GPIO_InitStruct);

  /*Configure GPIO pins : PB8 PB9 */
  GPIO_InitStruct.Pin = GPIO_PIN_8|GPIO_PIN_9;
  GPIO_InitStruct.Mode = GPIO_MODE_AF_OD;
  GPIO_InitStruct.Pull = GPIO_NOPULL;
  GPIO_InitStruct.Speed = GPIO_SPEED_FREQ_VERY_HIGH;
  GPIO_InitStruct.Alternate = GPIO_AF4_I2C1;
  HAL_GPIO_Init(GPIOB, &GPIO_InitStruct);

  /*Configure GPIO pin : PE0 */
  GPIO_InitStruct.Pin = GPIO_PIN_0;
  GPIO_InitStruct.Mode = GPIO_MODE_AF_PP;
  GPIO_InitStruct.Pull = GPIO_NOPULL;
  GPIO_InitStruct.Speed = GPIO_SPEED_FREQ_LOW;
  GPIO_InitStruct.Alternate = GPIO_AF2_TIM4;
  HAL_GPIO_Init(GPIOE, &GPIO_InitStruct);

  /* EXTI interrupt init*/
  HAL_NVIC_SetPriority(EXTI0_IRQn, 0, 0);
  HAL_NVIC_EnableIRQ(EXTI0_IRQn);

  HAL_NVIC_SetPriority(EXTI1_IRQn, 0, 0);
  HAL_NVIC_EnableIRQ(EXTI1_IRQn);

  HAL_NVIC_SetPriority(EXTI3_IRQn, 0, 0);
  HAL_NVIC_EnableIRQ(EXTI3_IRQn);

  HAL_NVIC_SetPriority(EXTI4_IRQn, 0, 0);
  HAL_NVIC_EnableIRQ(EXTI4_IRQn);

  HAL_NVIC_SetPriority(EXTI9_5_IRQn, 0, 0);
  HAL_NVIC_EnableIRQ(EXTI9_5_IRQn);

  HAL_NVIC_SetPriority(EXTI15_10_IRQn, 0, 0);
  HAL_NVIC_EnableIRQ(EXTI15_10_IRQn);

}

/* USER CODE BEGIN 4 */

#ifdef __GNUC__
#define PUTCHAR_PROTOTYPE int __io_putchar(int ch)
#else
  #define PUTCHAR_PROTOTYPE int fputc(int ch, FILE *f)
#endif /* __GNUC__ */
PUTCHAR_PROTOTYPE
{
  HAL_UART_Transmit(&hlpuart1, (uint8_t *)&ch, 1, 0xFFFF);
  return ch;
}

/* USER CODE END 4 */

void Error_Handler(void)
{
  __disable_irq();
  while (1)
  {
  }
}
